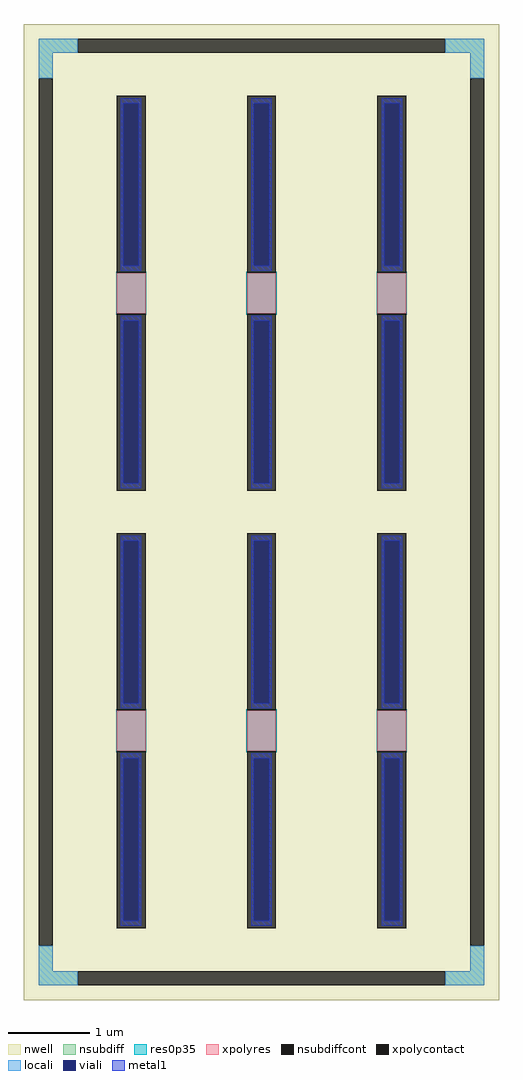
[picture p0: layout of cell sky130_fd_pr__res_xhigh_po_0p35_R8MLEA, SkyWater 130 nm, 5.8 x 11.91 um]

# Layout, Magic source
magic
tech sky130B
magscale 1 2
<< nwell >>
rect -580 -1191 580 1191
<< nsubdiff >>
rect -544 1121 -448 1155
rect 448 1121 544 1155
rect -544 1059 -510 1121
rect 510 1059 544 1121
rect -544 -1121 -510 -1059
rect 510 -1121 544 -1059
rect -544 -1155 -448 -1121
rect 448 -1155 544 -1121
<< nsubdiffcont >>
rect -448 1121 448 1155
rect -544 -1059 -510 1059
rect 510 -1059 544 1059
rect -448 -1155 448 -1121
<< xpolycontact >>
rect -353 584 -283 1016
rect -353 52 -283 484
rect -35 584 35 1016
rect -35 52 35 484
rect 283 584 353 1016
rect 283 52 353 484
rect -353 -484 -283 -52
rect -353 -1016 -283 -584
rect -35 -484 35 -52
rect -35 -1016 35 -584
rect 283 -484 353 -52
rect 283 -1016 353 -584
<< xpolyres >>
rect -353 484 -283 584
rect -35 484 35 584
rect 283 484 353 584
rect -353 -584 -283 -484
rect -35 -584 35 -484
rect 283 -584 353 -484
<< locali >>
rect -544 1121 -448 1155
rect 448 1121 544 1155
rect -544 1059 -510 1121
rect 510 1059 544 1121
rect -544 -1121 -510 -1059
rect 510 -1121 544 -1059
rect -544 -1155 -448 -1121
rect 448 -1155 544 -1121
<< viali >>
rect -337 601 -299 998
rect -19 601 19 998
rect 299 601 337 998
rect -337 70 -299 467
rect -19 70 19 467
rect 299 70 337 467
rect -337 -467 -299 -70
rect -19 -467 19 -70
rect 299 -467 337 -70
rect -337 -998 -299 -601
rect -19 -998 19 -601
rect 299 -998 337 -601
<< metal1 >>
rect -343 998 -293 1010
rect -343 601 -337 998
rect -299 601 -293 998
rect -343 589 -293 601
rect -25 998 25 1010
rect -25 601 -19 998
rect 19 601 25 998
rect -25 589 25 601
rect 293 998 343 1010
rect 293 601 299 998
rect 337 601 343 998
rect 293 589 343 601
rect -343 467 -293 479
rect -343 70 -337 467
rect -299 70 -293 467
rect -343 58 -293 70
rect -25 467 25 479
rect -25 70 -19 467
rect 19 70 25 467
rect -25 58 25 70
rect 293 467 343 479
rect 293 70 299 467
rect 337 70 343 467
rect 293 58 343 70
rect -343 -70 -293 -58
rect -343 -467 -337 -70
rect -299 -467 -293 -70
rect -343 -479 -293 -467
rect -25 -70 25 -58
rect -25 -467 -19 -70
rect 19 -467 25 -70
rect -25 -479 25 -467
rect 293 -70 343 -58
rect 293 -467 299 -70
rect 337 -467 343 -70
rect 293 -479 343 -467
rect -343 -601 -293 -589
rect -343 -998 -337 -601
rect -299 -998 -293 -601
rect -343 -1010 -293 -998
rect -25 -601 25 -589
rect -25 -998 -19 -601
rect 19 -998 25 -601
rect -25 -1010 25 -998
rect 293 -601 343 -589
rect 293 -998 299 -601
rect 337 -998 343 -601
rect 293 -1010 343 -998
<< res0p35 >>
rect -355 482 -281 586
rect -37 482 37 586
rect 281 482 355 586
rect -355 -586 -281 -482
rect -37 -586 37 -482
rect 281 -586 355 -482
<< properties >>
string FIXED_BBOX -527 -1138 527 1138
string gencell sky130_fd_pr__res_xhigh_po_0p35
string library sky130
string parameters w 0.350 l 0.50 m 2 nx 3 wmin 0.350 lmin 0.50 rho 2000 val 3.932k dummy 0 dw 0.0 term 188.2 sterm 0.0 caplen 0 wmax 0.350 guard 1 glc 1 grc 1 gtc 1 gbc 1 compatible {sky130_fd_pr__res_xhigh_po_0p35  sky130_fd_pr__res_xhigh_po_0p69 sky130_fd_pr__res_xhigh_po_1p41  sky130_fd_pr__res_xhigh_po_2p85 sky130_fd_pr__res_xhigh_po_5p73} full_metal 1 n_guard 1 hv_guard 0 vias 1 viagb 0 viagt 0 viagl 0 viagr 0
<< end >>
